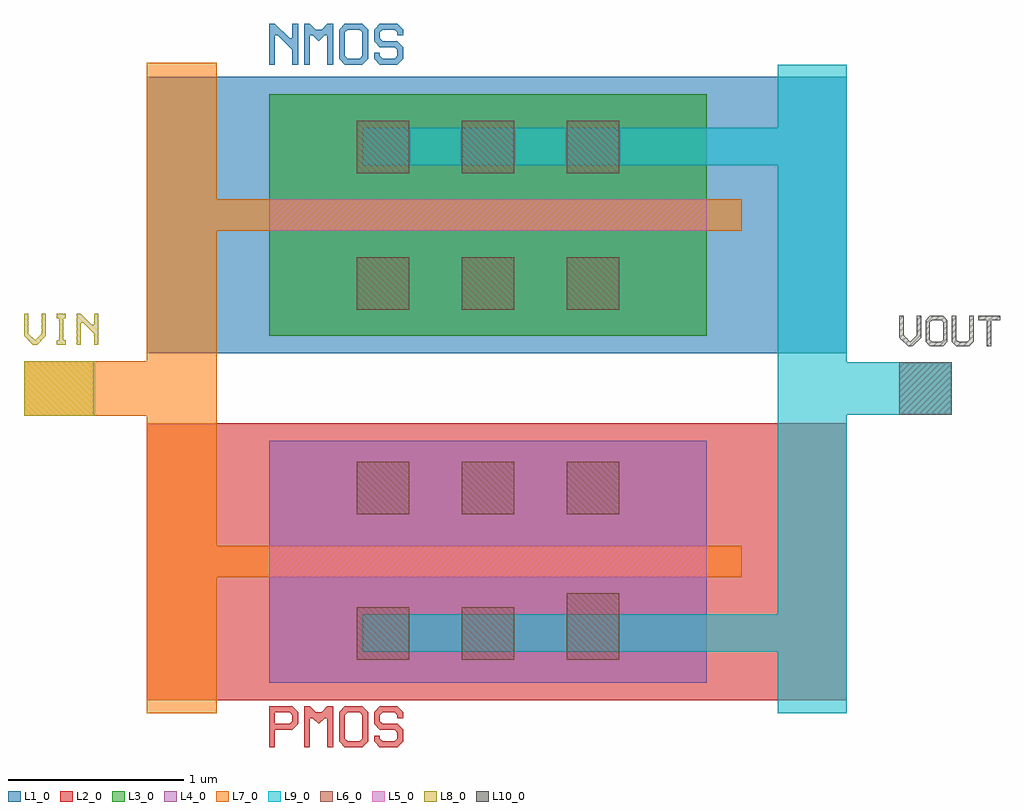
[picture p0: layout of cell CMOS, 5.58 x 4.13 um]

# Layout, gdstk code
import gdstk
lib = gdstk.Library(unit=1e-6, precision=1e-09)
def R(c, l, rs):  # rectangles x0, y0, x1, y1
    for r in rs: c.add(gdstk.rectangle(r[:2], r[2:], *l))
def A(c, l, x, y, w, h, nx, ny, dx, dy):  # array of equal rectangles
    R(c, l, [(x+i*dx, y+j*dy, x+i*dx+w, y+j*dy+h) for i in range(nx) for j in range(ny)])
def P(c, l, *ps):  # polygons
    for p in ps: c.add(gdstk.Polygon(p, *l))
L1_0 = (1, 0)
L2_0 = (2, 0)
L3_0 = (3, 0)
L4_0 = (4, 0)
L5_0 = (5, 0)
L6_0 = (6, 0)
L7_0 = (7, 0)
L8_0 = (8, 0)
L9_0 = (9, 0)
L10_0 = (10, 0)

cmos = lib.new_cell('CMOS')
R(cmos, L1_0, [(0.8,6.75,4.8,8.33)])
P(cmos, L1_0, [(1.5,8.4),(1.5,8.633),(1.533,8.633),(1.617,8.55),(1.633,8.55),(1.633,8.633),(1.667,8.633),(1.667,8.4),(1.633,8.4),(1.633,8.483),(1.55,8.567),(1.533,8.567),(1.533,8.4)],
  [(1.7,8.4),(1.7,8.633),(1.733,8.633),(1.767,8.6),(1.8,8.6),(1.833,8.633),(1.867,8.633),(1.867,8.4),(1.833,8.4),(1.833,8.567),(1.817,8.567),(1.783,8.533),(1.75,8.567),(1.733,8.567),(1.733,8.4)],
  [(1.933,8.4),(1.9,8.433),(1.9,8.6),(1.933,8.633),(2.033,8.633),(2.067,8.6),(2.067,8.517),(2.033,8.517),(2.033,8.583),(2.017,8.6),(1.95,8.6),(1.933,8.583),(1.933,8.45),(1.95,8.433),(2.017,8.433),(2.033,8.45),(2.033,8.517),(2.067,8.517),(2.067,8.433),(2.033,8.4)],
  [(2.133,8.4),(2.1,8.433),(2.1,8.467),(2.133,8.467),(2.133,8.45),(2.15,8.433),(2.217,8.433),(2.233,8.45),(2.233,8.483),(2.217,8.5),(2.133,8.5),(2.1,8.533),(2.1,8.6),(2.133,8.633),(2.233,8.633),(2.267,8.6),(2.267,8.567),(2.233,8.567),(2.233,8.583),(2.217,8.6),(2.15,8.6),(2.133,8.583),(2.133,8.55),(2.15,8.533),(2.233,8.533),(2.267,8.5),(2.267,8.433),(2.233,8.4)])
R(cmos, L2_0, [(0.8,4.77,4.8,6.35)])
P(cmos, L2_0, [(1.5,4.5),(1.5,4.733),(1.633,4.733),(1.667,4.7),(1.667,4.633),(1.633,4.6),(1.533,4.6),(1.533,4.633),(1.617,4.633),(1.633,4.65),(1.633,4.683),(1.617,4.7),(1.533,4.7),(1.533,4.5)],
  [(1.7,4.5),(1.7,4.733),(1.733,4.733),(1.767,4.7),(1.8,4.7),(1.833,4.733),(1.867,4.733),(1.867,4.5),(1.833,4.5),(1.833,4.667),(1.817,4.667),(1.783,4.633),(1.75,4.667),(1.733,4.667),(1.733,4.5)],
  [(1.933,4.5),(1.9,4.533),(1.9,4.7),(1.933,4.733),(2.033,4.733),(2.067,4.7),(2.067,4.617),(2.033,4.617),(2.033,4.683),(2.017,4.7),(1.95,4.7),(1.933,4.683),(1.933,4.55),(1.95,4.533),(2.017,4.533),(2.033,4.55),(2.033,4.617),(2.067,4.617),(2.067,4.533),(2.033,4.5)],
  [(2.133,4.5),(2.1,4.533),(2.1,4.567),(2.133,4.567),(2.133,4.55),(2.15,4.533),(2.217,4.533),(2.233,4.55),(2.233,4.583),(2.217,4.6),(2.133,4.6),(2.1,4.633),(2.1,4.7),(2.133,4.733),(2.233,4.733),(2.267,4.7),(2.267,4.667),(2.233,4.667),(2.233,4.683),(2.217,4.7),(2.15,4.7),(2.133,4.683),(2.133,4.65),(2.15,4.633),(2.233,4.633),(2.267,4.6),(2.267,4.533),(2.233,4.5)])
R(cmos, L3_0, [(1.5,6.85,4,8.23)])
R(cmos, L4_0, [(1.5,4.87,4,6.25)])
R(cmos, L5_0, [(1.5,5.47,4,5.65), (1.5,7.45,4,7.63)])
A(cmos, L6_0, 2, 5.83, 0.3, 0.3, 3, 2, 0.6, 1.17)
A(cmos, L6_0, 2, 7.78, 0.3, 0.3, 3, 1, 0.6, 0)
R(cmos, L6_0, [(2,5,2.3,5.3), (2.6,5,2.9,5.3), (3.2,5,3.5,5.38)])
R(cmos, L7_0, [(0.8,4.695,1.2,8.41), (0.8,5.47,4.2,5.65), (0.1,6.395,0.8,6.705), (0.8,7.45,4.2,7.63)])
R(cmos, L8_0, [(0.1,6.395,0.5,6.705)])
P(cmos, L8_0, [(0.15,6.8),(0.1,6.85),(0.1,6.975),(0.125,6.975),(0.125,6.863),(0.163,6.825),(0.2,6.863),(0.2,6.975),(0.225,6.975),(0.225,6.85),(0.175,6.8)],
  [(0.288,6.8),(0.288,6.825),(0.3,6.825),(0.3,6.95),(0.288,6.95),(0.288,6.975),(0.338,6.975),(0.338,6.95),(0.325,6.95),(0.325,6.825),(0.338,6.825),(0.338,6.8)],
  [(0.4,6.8),(0.4,6.975),(0.425,6.975),(0.488,6.913),(0.5,6.913),(0.5,6.975),(0.525,6.975),(0.525,6.8),(0.5,6.8),(0.5,6.863),(0.438,6.925),(0.425,6.925),(0.425,6.8)])
R(cmos, L9_0, [(4.405,4.695,4.8,8.4), (2.035,5.045,4.405,5.26), (4.8,6.4,5.4,6.7), (2.035,7.825,4.405,8.04)])
R(cmos, L10_0, [(5.1,6.4,5.4,6.7)])
P(cmos, L10_0, [(5.15,6.79),(5.1,6.84),(5.1,6.965),(5.125,6.965),(5.125,6.853),(5.163,6.815),(5.2,6.853),(5.2,6.965),(5.225,6.965),(5.225,6.84),(5.175,6.79)],
  [(5.275,6.79),(5.25,6.815),(5.25,6.94),(5.275,6.965),(5.35,6.965),(5.375,6.94),(5.375,6.878),(5.35,6.878),(5.35,6.928),(5.338,6.94),(5.288,6.94),(5.275,6.928),(5.275,6.828),(5.288,6.815),(5.338,6.815),(5.35,6.828),(5.35,6.878),(5.375,6.878),(5.375,6.815),(5.35,6.79)],
  [(5.425,6.79),(5.4,6.815),(5.4,6.965),(5.425,6.965),(5.425,6.828),(5.438,6.815),(5.488,6.815),(5.5,6.828),(5.5,6.965),(5.525,6.965),(5.525,6.815),(5.5,6.79)],
  [(5.6,6.79),(5.6,6.94),(5.55,6.94),(5.55,6.965),(5.675,6.965),(5.675,6.94),(5.625,6.94),(5.625,6.79)])

lib.write_gds('CMOS.gds')
